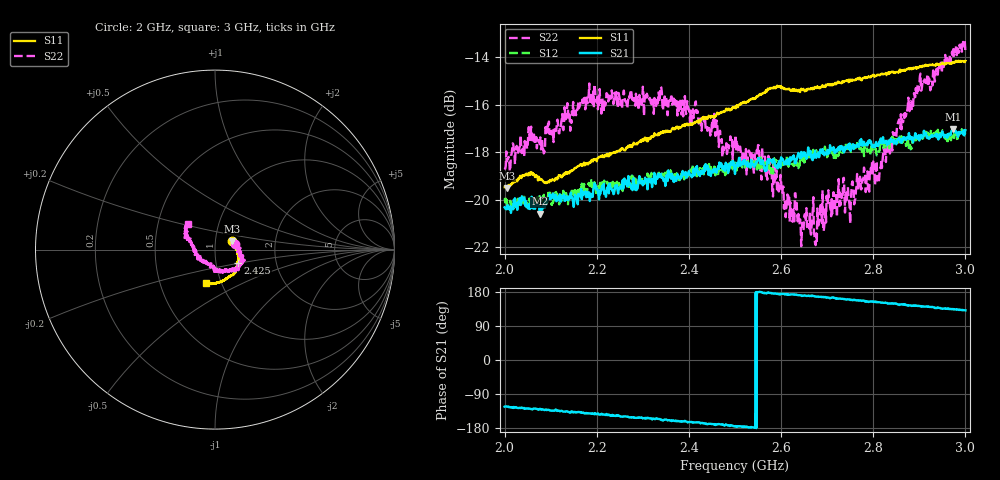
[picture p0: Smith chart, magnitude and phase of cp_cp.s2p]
!Agilent Technologies,E8364A,US41440144,A.06.04.32
!Agilent E8364A: A.06.04.32
!Date: Friday, February 02, 2018 16:01:35
!Correction: S11(Full 2 Port(1,2)) S21(Full 2 Port(1,2)) S12(Full 2 Port(1,2)) S22(Full 2 Port(1,2))
!S2P File: Measurements: S11, S21, S12, S22:
# Hz S  dB  R 50
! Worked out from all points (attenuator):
!   801 points, 2 GHz to 3 GHz, reference 50 ohm
!   highest |S21| = -17.02 dB at 2.973 GHz (marker M1); lowest = -20.6 dB at 2.076 GHz (marker M2)
!   lowest |S11| = -19.5 dB at 2.005 GHz (marker M3), VSWR 1.24, Z = 60.2 + j5.67 ohm
!   |S11| at or under -10 dB: start of sweep to end of sweep
!   |S22| runs from -22.0 to -13.3 dB; largest |S21 - S12| = 0.013
!   S11 on the Smith chart (normalised r, x): 2 GHz: 1.20, +0.12; 2.425 GHz: 1.27, -0.19; 3 GHz: 0.84, -0.33
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2e9  -19.47 26.8  -20.32 -123.1  -19.94 -121.6  -18.66 14.8
2.005e9  -19.50 26.1  -20.39 -122.9  -20.12 -122.8  -18.38 9.0
2.05625e9  -18.95 15.4  -20.21 -129.1  -20.30 -129.1  -17.37 1.0
2.07625e9  -19.10 11.5  -20.59 -129.0  -19.88 -129.5  -17.64 -4.2
2.1675e9  -18.57 3.3  -19.98 -139.0  -19.32 -140.7  -15.94 -16.2
2.33375e9  -17.20 -18.4  -18.90 -155.4  -19.04 -156.7  -15.49 -40.6
2.425e9  -16.64 -30.5  -18.81 -167.4  -18.68 -165.5  -16.60 -49.7
2.45625e9  -16.52 -34.1  -18.70 -170.3  -18.65 -170.7  -16.63 -59.0
2.4775e9  -16.29 -37.2  -18.71 -173.1  -18.82 -173.1  -17.71 -61.1
2.5e9  -16.08 -40.3  -18.92 -174.6  -18.48 -174.2  -17.85 -70.5
2.575e9  -15.32 -50.3  -18.32 177.2  -18.71 176.3  -18.27 -84.5
2.62375e9  -15.37 -59.3  -18.30 173.0  -18.49 172.0  -20.80 -103.3
2.635e9  -15.42 -60.7  -18.23 171.5  -18.45 172.5  -20.69 -107.7
2.64375e9  -15.33 -61.5  -17.99 170.2  -18.39 171.4  -21.95 -104.5
2.6675e9  -15.35 -64.2  -18.32 170.4  -18.13 169.6  -20.72 -125.8
2.67625e9  -15.30 -65.4  -18.24 166.6  -17.92 167.2  -21.41 -127.2
2.70125e9  -15.15 -67.9  -17.90 164.9  -18.08 163.8  -20.19 -140.7
2.80875e9  -14.74 -81.3  -17.68 152.9  -18.08 155.0  -19.19 176.8
2.83375e9  -14.71 -84.6  -17.66 148.4  -17.71 150.9  -17.68 168.4
2.8975e9  -14.44 -93.0  -17.43 142.3  -17.32 144.3  -15.42 158.7
2.9725e9  -14.23 -101.5  -17.02 134.7  -17.44 136.1  -13.93 142.1
3e9  -14.16 -105.4  -17.08 131.1  -17.24 134.4  -13.76 136.7
